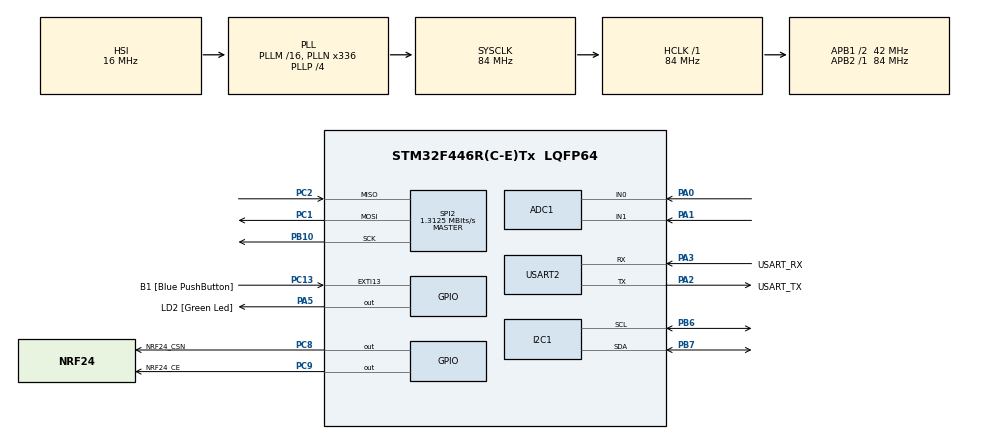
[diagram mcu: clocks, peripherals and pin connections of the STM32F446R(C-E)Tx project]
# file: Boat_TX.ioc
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ADC1.Channel-0\#ChannelRegularConversion=ADC_CHANNEL_0
ADC1.Channel-1\#ChannelRegularConversion=ADC_CHANNEL_1
ADC1.ClockPrescaler=ADC_CLOCK_SYNC_PCLK_DIV8
ADC1.ContinuousConvMode=ENABLE
ADC1.DMAContinuousRequests=ENABLE
ADC1.DataAlign=ADC_DATAALIGN_RIGHT
ADC1.NbrOfConversion=2
ADC1.NbrOfConversionFlag=1
ADC1.Rank-0\#ChannelRegularConversion=1
ADC1.Rank-1\#ChannelRegularConversion=2
ADC1.SamplingTime-0\#ChannelRegularConversion=ADC_SAMPLETIME_480CYCLES
ADC1.SamplingTime-1\#ChannelRegularConversion=ADC_SAMPLETIME_480CYCLES
ADC1.ScanConvMode=ENABLE
ADC1.master=1
Dma.ADC1.0.Direction=DMA_PERIPH_TO_MEMORY
Dma.ADC1.0.FIFOMode=DMA_FIFOMODE_DISABLE
Dma.ADC1.0.Instance=DMA2_Stream0
Dma.ADC1.0.MemDataAlignment=DMA_MDATAALIGN_HALFWORD
Dma.ADC1.0.MemInc=DMA_MINC_ENABLE
Dma.ADC1.0.Mode=DMA_CIRCULAR
Dma.ADC1.0.PeriphDataAlignment=DMA_PDATAALIGN_HALFWORD
Dma.ADC1.0.PeriphInc=DMA_PINC_DISABLE
Dma.ADC1.0.Priority=DMA_PRIORITY_LOW
Dma.Request0=ADC1
Mcu.Family=STM32F4
Mcu.Name=STM32F446R(C-E)Tx
Mcu.Package=LQFP64
NVIC.DMA2_Stream0_IRQn=true\:0\:0\:false\:false\:true\:false\:true
NVIC.PriorityGroup=NVIC_PRIORITYGROUP_0
PA0-WKUP.Signal=ADCx_IN0
PA1.Signal=ADCx_IN1
PA13.GPIO_Label=TMS
PA13.Mode=Serial_Wire
PA13.Signal=SYS_JTMS-SWDIO
PA14.GPIO_Label=TCK
PA14.Mode=Serial_Wire
PA14.Signal=SYS_JTCK-SWCLK
PA2.GPIO_Label=USART_TX
PA2.Mode=Asynchronous
PA2.Signal=USART2_TX
PA3.GPIO_Label=USART_RX
PA3.Mode=Asynchronous
PA3.Signal=USART2_RX
PA5.GPIO_Label=LD2 [Green Led]
PA5.Signal=GPIO_Output
PB10.Mode=Full_Duplex_Master
PB10.Signal=SPI2_SCK
PB3.GPIO_Label=SWO
PB3.Signal=SYS_JTDO-SWO
PB6.Mode=I2C
PB6.Signal=I2C1_SCL
PB7.Mode=I2C
PB7.Signal=I2C1_SDA
PC1.Mode=Full_Duplex_Master
PC1.Signal=SPI2_MOSI
PC13.GPIO_Label=B1 [Blue PushButton]
PC13.GPIO_ModeDefaultEXTI=GPIO_MODE_IT_FALLING
PC13.Signal=GPXTI13
PC14-OSC32_IN.Mode=LSE-External-Oscillator
PC14-OSC32_IN.Signal=RCC_OSC32_IN
PC15-OSC32_OUT.Mode=LSE-External-Oscillator
PC15-OSC32_OUT.Signal=RCC_OSC32_OUT
PC2.Mode=Full_Duplex_Master
PC2.Signal=SPI2_MISO
PC8.GPIO_Label=NRF24_CSN
PC8.Signal=GPIO_Output
PC9.GPIO_Label=NRF24_CE
PC9.Signal=GPIO_Output
PH0-OSC_IN.Mode=HSE-External-Oscillator
PH0-OSC_IN.Signal=RCC_OSC_IN
PH1-OSC_OUT.Mode=HSE-External-Oscillator
PH1-OSC_OUT.Signal=RCC_OSC_OUT
ProjectManager.HeapSize=0x200
ProjectManager.StackSize=0x400
ProjectManager.TargetToolchain=STM32CubeIDE
RCC.48MHZClocksFreq_Value=84000000
RCC.AHBFreq_Value=84000000
RCC.APB1CLKDivider=RCC_HCLK_DIV2
RCC.APB1Freq_Value=42000000
RCC.APB1TimFreq_Value=84000000
RCC.APB2Freq_Value=84000000
RCC.APB2TimFreq_Value=84000000
RCC.CortexFreq_Value=84000000
RCC.FLatency-AdvancedSettings=FLASH_LATENCY_2
RCC.HCLKFreq_Value=84000000
RCC.HSE_VALUE=8000000
RCC.HSI_VALUE=16000000
RCC.PLLN=336
RCC.PLLP=RCC_PLLP_DIV4
RCC.SYSCLKFreq_VALUE=84000000
RCC.SYSCLKSource=RCC_SYSCLKSOURCE_PLLCLK
RCC.USBFreq_Value=168000000
RCC.VCOOutputFreq_Value=336000000
SH.ADCx_IN0.0=ADC1_IN0,IN0
SH.ADCx_IN1.0=ADC1_IN1,IN1
SPI2.BaudRatePrescaler=SPI_BAUDRATEPRESCALER_32
SPI2.CalculateBaudRate=1.3125 MBits/s
SPI2.Direction=SPI_DIRECTION_2LINES
SPI2.Mode=SPI_MODE_MASTER
SPI2.VirtualType=VM_MASTER
USART2.VirtualMode=VM_ASYNC
board=NUCLEO-F446RE

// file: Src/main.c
/* USER CODE BEGIN Header */
/**
  ******************************************************************************
  * @file           : main.c
  * @brief          : Main program body
  ******************************************************************************
  * @attention
  *
  * <h2><center>&copy; Copyright (c) 2020 STMicroelectronics.
  * All rights reserved.</center></h2>
  *
  * This software component is licensed by ST under BSD 3-Clause license,
  * the "License"; You may not use this file except in compliance with the
  * License. You may obtain a copy of the License at:
  *                        opensource.org/licenses/BSD-3-Clause
  *
  ******************************************************************************
  */
/* USER CODE END Header */

#include "main.h"
#include "adc.h"
#include "dma.h"
#include "i2c.h"
#include "spi.h"
#include "usart.h"
#include "gpio.h"

/* USER CODE BEGIN Includes */
#include "NRF24.h"
#include "KK_LCD1602A.h"
/* USER CODE END Includes */

/* USER CODE BEGIN PV */
const uint64_t tx_pipe_addr = 		0x11223344AA;
uint8_t my_tx_data[MAX_PAYLOAD_SIZE + 2];
uint16_t Joystick[2];
/* USER CODE END PV */

void SystemClock_Config(void);

int main(void)
{

  /* MCU Configuration--------------------------------------------------------*/

  /* Reset of all peripherals, Initializes the Flash interface and the Systick. */
  HAL_Init();

  /* Configure the system clock */
  SystemClock_Config();

  /* Initialize all configured peripherals */
  MX_GPIO_Init();
  MX_DMA_Init();
  MX_SPI2_Init();
  MX_USART2_UART_Init();
  MX_ADC1_Init();
  MX_I2C1_Init();
  /* USER CODE BEGIN 2 */
  HAL_ADC_Start_DMA(&hadc1, (uint32_t*)Joystick, 2);
  NRF24_init(&hspi2);

  NRF24_openWritingPipe(tx_pipe_addr);

  if(! LCD1602A_init(&hi2c1)){
	  uint8_t error_msg[] = "Couldn't connect to LCD Display\r\n";
	  HAL_UART_Transmit(&huart2, error_msg, sizeof(error_msg), 100);
  }
  /* USER CODE END 2 */

  /* Infinite loop */
  /* USER CODE BEGIN WHILE */
  while (1)
  {
	  // mnozymy przez wspolczynnik zepsutych Chinskich joysticków
	  my_tx_data[0] = (uint8_t)((Joystick[0] * 100.0) / 4095.0);
	  my_tx_data[0] = (uint8_t)((my_tx_data[0] - 43) * (100.0 / 57.0));
	  my_tx_data[1] = (uint8_t)((Joystick[1] * 100.0) / 4095.0);
	  my_tx_data[1] = (uint8_t)((my_tx_data[1] - 43) * (100.0 / 57.0));

	  if(NRF24_write(my_tx_data, PAYLOAD_SIZE)){
		  my_tx_data[PAYLOAD_SIZE] = '\r';
		  my_tx_data[PAYLOAD_SIZE + 1] = '\n';
		  HAL_UART_Transmit(&huart2, my_tx_data, PAYLOAD_SIZE + 2, 100);

		  LCD1602A_clear();
		  LCD1602A_setCursor(0, 0);
		  LCD1602A_printf("Speed = %u", my_tx_data[0]);
		  LCD1602A_setCursor(1, 0);
		  LCD1602A_printf("Direction = %u", my_tx_data[1]);
	  }

	  HAL_Delay(100);
    /* USER CODE END WHILE */

  }
}

void SystemClock_Config(void)
{
  RCC_OscInitTypeDef RCC_OscInitStruct = {0};
  RCC_ClkInitTypeDef RCC_ClkInitStruct = {0};

  /** Configure the main internal regulator output voltage
  */
  __HAL_RCC_PWR_CLK_ENABLE();
  __HAL_PWR_VOLTAGESCALING_CONFIG(PWR_REGULATOR_VOLTAGE_SCALE3);
  /** Initializes the CPU, AHB and APB busses clocks
  */
  RCC_OscInitStruct.OscillatorType = RCC_OSCILLATORTYPE_HSI;
  RCC_OscInitStruct.HSIState = RCC_HSI_ON;
  RCC_OscInitStruct.HSICalibrationValue = RCC_HSICALIBRATION_DEFAULT;
  RCC_OscInitStruct.PLL.PLLState = RCC_PLL_ON;
  RCC_OscInitStruct.PLL.PLLSource = RCC_PLLSOURCE_HSI;
  RCC_OscInitStruct.PLL.PLLM = 16;
  RCC_OscInitStruct.PLL.PLLN = 336;
  RCC_OscInitStruct.PLL.PLLP = RCC_PLLP_DIV4;
  RCC_OscInitStruct.PLL.PLLQ = 2;
  RCC_OscInitStruct.PLL.PLLR = 2;
  if (HAL_RCC_OscConfig(&RCC_OscInitStruct) != HAL_OK)
  {
    Error_Handler();
  }
  /** Initializes the CPU, AHB and APB busses clocks
  */
  RCC_ClkInitStruct.ClockType = RCC_CLOCKTYPE_HCLK|RCC_CLOCKTYPE_SYSCLK
                              |RCC_CLOCKTYPE_PCLK1|RCC_CLOCKTYPE_PCLK2;
  RCC_ClkInitStruct.SYSCLKSource = RCC_SYSCLKSOURCE_PLLCLK;
  RCC_ClkInitStruct.AHBCLKDivider = RCC_SYSCLK_DIV1;
  RCC_ClkInitStruct.APB1CLKDivider = RCC_HCLK_DIV2;
  RCC_ClkInitStruct.APB2CLKDivider = RCC_HCLK_DIV1;

  if (HAL_RCC_ClockConfig(&RCC_ClkInitStruct, FLASH_LATENCY_2) != HAL_OK)
  {
    Error_Handler();
  }
}

void Error_Handler(void)
{
}

/************************ (C) COPYRIGHT STMicroelectronics *****END OF FILE****/
